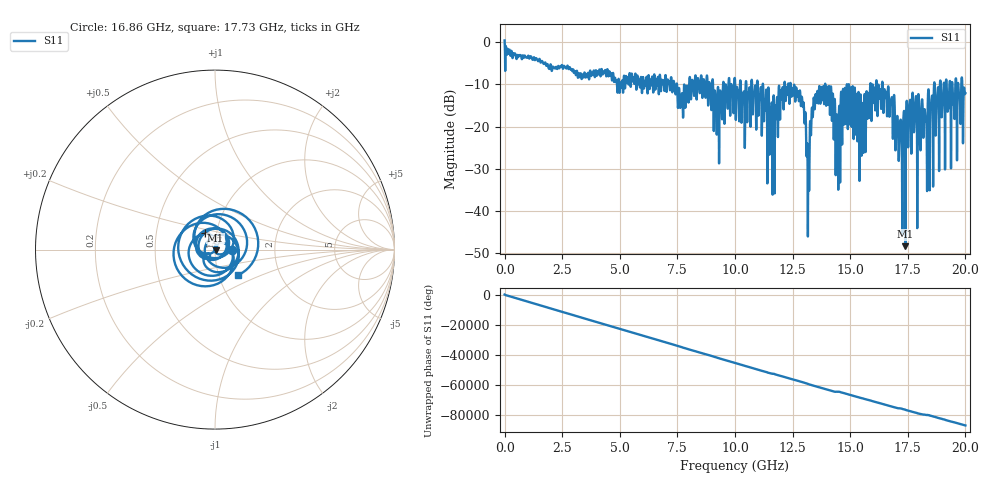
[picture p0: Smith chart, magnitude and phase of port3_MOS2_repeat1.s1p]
! MS46122B
! 2250307/22442219
! 7/22/2025 3:24:55 PM
! C:\USERS\SPARKY\DOCUMENTS\VNA_DATA\JULY22_2025\295\PORT3_MOS2_REPEAT1.S1P
! CHANNEL.1
! TR.MEASUREMENT
! RAW.DATA
# GHZ S RI R 50.0
! FREQ.GHZ  S11RE  S11IM
!; PortSelection: Port_1
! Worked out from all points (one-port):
!   10001 points, 1 MHz to 20 GHz, reference 50 ohm
!   lowest |S11| = -48.3 dB at 17.39 GHz (marker M1), VSWR 1.01, Z = 50.3 - j0.239 ohm
!   |S11| at or under -10 dB: 12.42 GHz to 13.91 GHz (1.49 GHz wide, 11.3 % of centre); 13.92 GHz to 14.85 GHz (933.1 MHz wide, 6.49 % of centre); 16.41 GHz to 18.64 GHz (2.233 GHz wide, 12.7 % of centre) (the widest 3 of 63)
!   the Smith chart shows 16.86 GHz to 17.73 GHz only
!   S11 on the Smith chart (normalised r, x): 16.86 GHz: 1.21, -0.00; 17 GHz: 0.88, +0.17; 17.73 GHz: 1.24, -0.36
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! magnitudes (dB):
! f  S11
! 1 MHz  0.4
! 2.501 GHz  -5.6
! 5.001 GHz  -11.6
! 7.501 GHz  -11.7
! 9.243 GHz  -12.1
! 10 GHz  -9.0
! 11.04 GHz  -13.4
! 11.64 GHz  -25.0
! 12.5 GHz  -11.3
! 12.9 GHz  -12.9
! 13.18 GHz  -28.4
! 13.34 GHz  -15.5
! 13.58 GHz  -11.6
! 14.09 GHz  -10.6
! 14.47 GHz  -22.7
! 14.69 GHz  -11.3
! 15 GHz  -13.9
! 15.49 GHz  -25.6
! 16.06 GHz  -10.9
! 16.86 GHz  -20.6
! 17 GHz  -19.2
! 17.19 GHz  -18.3
! 17.39 GHz  -48.3
! 17.5 GHz  -21.2
! 17.73 GHz  -14.3
! 18.26 GHz  -17.7
! 18.73 GHz  -16.6
! 20 GHz  -12.1
